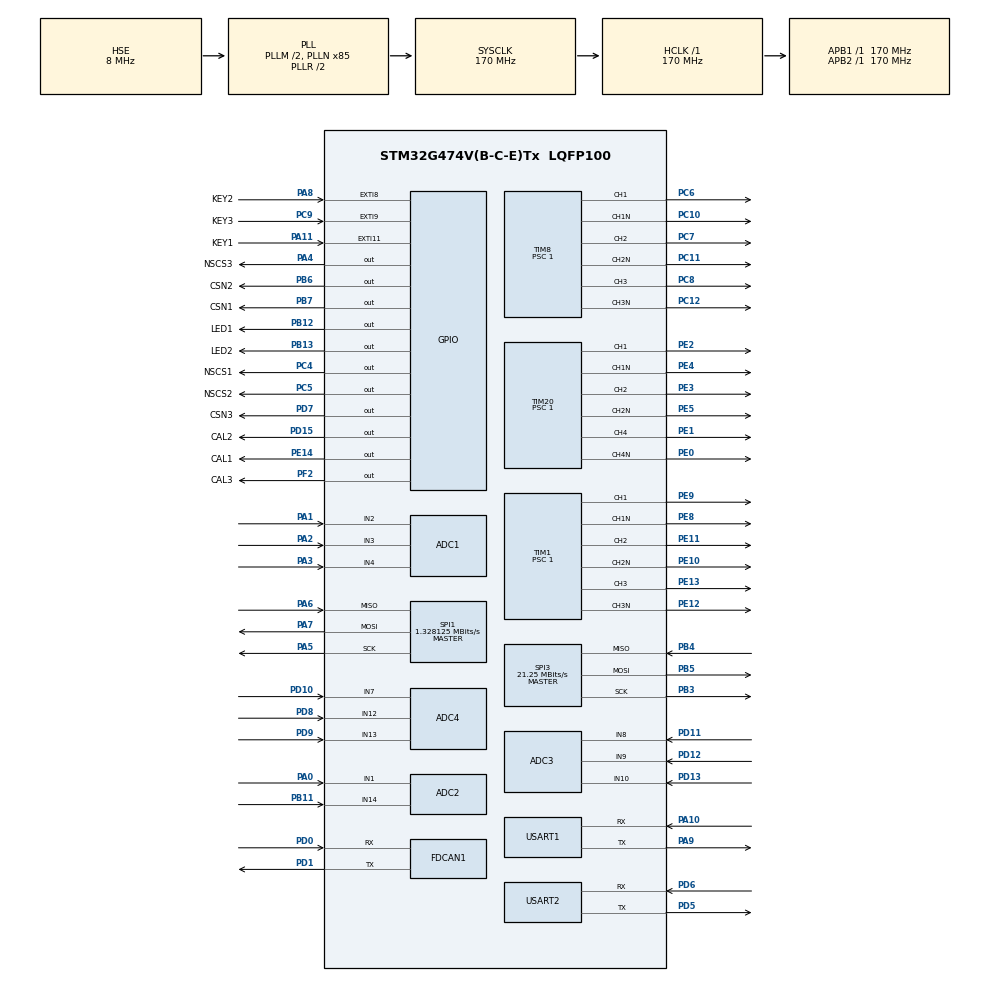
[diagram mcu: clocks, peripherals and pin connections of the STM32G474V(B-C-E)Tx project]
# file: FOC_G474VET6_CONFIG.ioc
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ADC1.Channel-0\#ChannelRegularConversion=ADC_CHANNEL_2
ADC1.Channel-1\#ChannelRegularConversion=ADC_CHANNEL_3
ADC1.Channel-2\#ChannelRegularConversion=ADC_CHANNEL_4
ADC1.ContinuousConvMode=DISABLE
ADC1.DMAContinuousRequests=ENABLE
ADC1.EOCSelection=ADC_EOC_SEQ_CONV
ADC1.ExternalTrigConv=ADC_EXTERNALTRIG_T20_CC3
ADC1.NbrOfConversion=3
ADC1.NbrOfConversionFlag=1
ADC1.OffsetNumber-0\#ChannelRegularConversion=ADC_OFFSET_NONE
ADC1.OffsetNumber-1\#ChannelRegularConversion=ADC_OFFSET_NONE
ADC1.OffsetNumber-2\#ChannelRegularConversion=ADC_OFFSET_NONE
ADC1.Rank-0\#ChannelRegularConversion=1
ADC1.Rank-1\#ChannelRegularConversion=2
ADC1.Rank-2\#ChannelRegularConversion=3
ADC1.SamplingTime-0\#ChannelRegularConversion=ADC_SAMPLETIME_47CYCLES_5
ADC1.SamplingTime-1\#ChannelRegularConversion=ADC_SAMPLETIME_47CYCLES_5
ADC1.SamplingTime-2\#ChannelRegularConversion=ADC_SAMPLETIME_47CYCLES_5
ADC1.master=1
ADC2.Channel-0\#ChannelRegularConversion=ADC_CHANNEL_1
ADC2.Channel-1\#ChannelRegularConversion=ADC_CHANNEL_14
ADC2.ContinuousConvMode=DISABLE
ADC2.DMAContinuousRequests=ENABLE
ADC2.EOCSelection=ADC_EOC_SEQ_CONV
ADC2.ExternalTrigConv=ADC_EXTERNALTRIG_T6_TRGO
ADC2.NbrOfConversion=2
ADC2.NbrOfConversionFlag=1
ADC2.OffsetNumber-0\#ChannelRegularConversion=ADC_OFFSET_NONE
ADC2.OffsetNumber-1\#ChannelRegularConversion=ADC_OFFSET_NONE
ADC2.Rank-0\#ChannelRegularConversion=1
ADC2.Rank-1\#ChannelRegularConversion=2
ADC2.SamplingTime-0\#ChannelRegularConversion=ADC_SAMPLETIME_2CYCLES_5
ADC2.SamplingTime-1\#ChannelRegularConversion=ADC_SAMPLETIME_2CYCLES_5
ADC3.Channel-0\#ChannelRegularConversion=ADC_CHANNEL_10
ADC3.Channel-1\#ChannelRegularConversion=ADC_CHANNEL_9
ADC3.Channel-2\#ChannelRegularConversion=ADC_CHANNEL_8
ADC3.ContinuousConvMode=DISABLE
ADC3.DMAContinuousRequests=ENABLE
ADC3.EOCSelection=ADC_EOC_SEQ_CONV
ADC3.ExternalTrigConv=ADC_EXTERNALTRIG_T8_TRGO2
ADC3.NbrOfConversion=3
ADC3.NbrOfConversionFlag=1
ADC3.OffsetNumber-0\#ChannelRegularConversion=ADC_OFFSET_NONE
ADC3.OffsetNumber-1\#ChannelRegularConversion=ADC_OFFSET_NONE
ADC3.OffsetNumber-2\#ChannelRegularConversion=ADC_OFFSET_NONE
ADC3.Rank-0\#ChannelRegularConversion=1
ADC3.Rank-1\#ChannelRegularConversion=2
ADC3.Rank-2\#ChannelRegularConversion=3
ADC3.SamplingTime-0\#ChannelRegularConversion=ADC_SAMPLETIME_47CYCLES_5
ADC3.SamplingTime-1\#ChannelRegularConversion=ADC_SAMPLETIME_47CYCLES_5
ADC3.SamplingTime-2\#ChannelRegularConversion=ADC_SAMPLETIME_47CYCLES_5
ADC3.master=1
ADC4.Channel-0\#ChannelRegularConversion=ADC_CHANNEL_7
ADC4.Channel-1\#ChannelRegularConversion=ADC_CHANNEL_13
ADC4.Channel-2\#ChannelRegularConversion=ADC_CHANNEL_12
ADC4.ContinuousConvMode=DISABLE
ADC4.DMAContinuousRequests=ENABLE
ADC4.EOCSelection=ADC_EOC_SEQ_CONV
ADC4.ExternalTrigConv=ADC_EXTERNALTRIG_T1_TRGO2
ADC4.NbrOfConversion=3
ADC4.NbrOfConversionFlag=1
ADC4.OffsetNumber-0\#ChannelRegularConversion=ADC_OFFSET_NONE
ADC4.OffsetNumber-1\#ChannelRegularConversion=ADC_OFFSET_NONE
ADC4.OffsetNumber-2\#ChannelRegularConversion=ADC_OFFSET_NONE
ADC4.Rank-0\#ChannelRegularConversion=1
ADC4.Rank-1\#ChannelRegularConversion=2
ADC4.Rank-2\#ChannelRegularConversion=3
ADC4.SamplingTime-0\#ChannelRegularConversion=ADC_SAMPLETIME_47CYCLES_5
ADC4.SamplingTime-1\#ChannelRegularConversion=ADC_SAMPLETIME_47CYCLES_5
ADC4.SamplingTime-2\#ChannelRegularConversion=ADC_SAMPLETIME_47CYCLES_5
Dma.ADC1.4.Direction=DMA_PERIPH_TO_MEMORY
Dma.ADC1.4.EventEnable=DISABLE
Dma.ADC1.4.Instance=DMA1_Channel5
Dma.ADC1.4.MemDataAlignment=DMA_MDATAALIGN_HALFWORD
Dma.ADC1.4.MemInc=DMA_MINC_ENABLE
Dma.ADC1.4.Mode=DMA_CIRCULAR
Dma.ADC1.4.PeriphDataAlignment=DMA_PDATAALIGN_HALFWORD
Dma.ADC1.4.PeriphInc=DMA_PINC_DISABLE
Dma.ADC1.4.Polarity=HAL_DMAMUX_REQ_GEN_RISING
Dma.ADC1.4.Priority=DMA_PRIORITY_VERY_HIGH
Dma.ADC1.4.RequestNumber=1
Dma.ADC1.4.SignalID=NONE
Dma.ADC1.4.SyncEnable=DISABLE
Dma.ADC1.4.SyncPolarity=HAL_DMAMUX_SYNC_NO_EVENT
Dma.ADC1.4.SyncRequestNumber=1
Dma.ADC1.4.SyncSignalID=NONE
Dma.ADC2.9.Direction=DMA_PERIPH_TO_MEMORY
Dma.ADC2.9.EventEnable=DISABLE
Dma.ADC2.9.Instance=DMA1_Channel8
Dma.ADC2.9.MemDataAlignment=DMA_MDATAALIGN_HALFWORD
Dma.ADC2.9.MemInc=DMA_MINC_ENABLE
Dma.ADC2.9.Mode=DMA_CIRCULAR
Dma.ADC2.9.PeriphDataAlignment=DMA_PDATAALIGN_HALFWORD
Dma.ADC2.9.PeriphInc=DMA_PINC_DISABLE
Dma.ADC2.9.Polarity=HAL_DMAMUX_REQ_GEN_RISING
Dma.ADC2.9.Priority=DMA_PRIORITY_MEDIUM
Dma.ADC2.9.RequestNumber=1
Dma.ADC2.9.SignalID=NONE
Dma.ADC2.9.SyncEnable=DISABLE
Dma.ADC2.9.SyncPolarity=HAL_DMAMUX_SYNC_NO_EVENT
Dma.ADC2.9.SyncRequestNumber=1
Dma.ADC2.9.SyncSignalID=NONE
Dma.ADC3.5.Direction=DMA_PERIPH_TO_MEMORY
Dma.ADC3.5.EventEnable=DISABLE
Dma.ADC3.5.Instance=DMA1_Channel6
Dma.ADC3.5.MemDataAlignment=DMA_MDATAALIGN_HALFWORD
Dma.ADC3.5.MemInc=DMA_MINC_ENABLE
Dma.ADC3.5.Mode=DMA_CIRCULAR
Dma.ADC3.5.PeriphDataAlignment=DMA_PDATAALIGN_HALFWORD
Dma.ADC3.5.PeriphInc=DMA_PINC_DISABLE
Dma.ADC3.5.Polarity=HAL_DMAMUX_REQ_GEN_RISING
Dma.ADC3.5.Priority=DMA_PRIORITY_VERY_HIGH
Dma.ADC3.5.RequestNumber=1
Dma.ADC3.5.SignalID=NONE
Dma.ADC3.5.SyncEnable=DISABLE
Dma.ADC3.5.SyncPolarity=HAL_DMAMUX_SYNC_NO_EVENT
Dma.ADC3.5.SyncRequestNumber=1
Dma.ADC3.5.SyncSignalID=NONE
Dma.ADC4.6.Direction=DMA_PERIPH_TO_MEMORY
Dma.ADC4.6.EventEnable=DISABLE
Dma.ADC4.6.Instance=DMA1_Channel7
Dma.ADC4.6.MemDataAlignment=DMA_MDATAALIGN_HALFWORD
Dma.ADC4.6.MemInc=DMA_MINC_ENABLE
Dma.ADC4.6.Mode=DMA_CIRCULAR
Dma.ADC4.6.PeriphDataAlignment=DMA_PDATAALIGN_HALFWORD
Dma.ADC4.6.PeriphInc=DMA_PINC_DISABLE
Dma.ADC4.6.Polarity=HAL_DMAMUX_REQ_GEN_RISING
Dma.ADC4.6.Priority=DMA_PRIORITY_VERY_HIGH
Dma.ADC4.6.RequestNumber=1
Dma.ADC4.6.SignalID=NONE
Dma.ADC4.6.SyncEnable=DISABLE
Dma.ADC4.6.SyncPolarity=HAL_DMAMUX_SYNC_NO_EVENT
Dma.ADC4.6.SyncRequestNumber=1
Dma.ADC4.6.SyncSignalID=NONE
Dma.Request0=USART1_TX
Dma.Request1=USART2_RX
Dma.Request2=USART2_TX
Dma.Request3=USART1_RX
Dma.Request4=ADC1
Dma.Request5=ADC3
Dma.Request6=ADC4
Dma.Request7=SPI3_RX
Dma.Request8=SPI3_TX
Dma.Request9=ADC2
Dma.SPI3_RX.7.Direction=DMA_PERIPH_TO_MEMORY
Dma.SPI3_RX.7.EventEnable=DISABLE
Dma.SPI3_RX.7.Instance=DMA2_Channel1
Dma.SPI3_RX.7.MemDataAlignment=DMA_MDATAALIGN_BYTE
Dma.SPI3_RX.7.MemInc=DMA_MINC_ENABLE
Dma.SPI3_RX.7.Mode=DMA_NORMAL
Dma.SPI3_RX.7.PeriphDataAlignment=DMA_PDATAALIGN_BYTE
Dma.SPI3_RX.7.PeriphInc=DMA_PINC_DISABLE
Dma.SPI3_RX.7.Polarity=HAL_DMAMUX_REQ_GEN_RISING
Dma.SPI3_RX.7.Priority=DMA_PRIORITY_HIGH
Dma.SPI3_RX.7.RequestNumber=1
Dma.SPI3_RX.7.SignalID=NONE
Dma.SPI3_RX.7.SyncEnable=DISABLE
Dma.SPI3_RX.7.SyncPolarity=HAL_DMAMUX_SYNC_NO_EVENT
Dma.SPI3_RX.7.SyncRequestNumber=1
Dma.SPI3_RX.7.SyncSignalID=NONE
Dma.SPI3_TX.8.Direction=DMA_MEMORY_TO_PERIPH
Dma.SPI3_TX.8.EventEnable=DISABLE
Dma.SPI3_TX.8.Instance=DMA2_Channel2
Dma.SPI3_TX.8.MemDataAlignment=DMA_MDATAALIGN_BYTE
Dma.SPI3_TX.8.MemInc=DMA_MINC_ENABLE
Dma.SPI3_TX.8.Mode=DMA_NORMAL
Dma.SPI3_TX.8.PeriphDataAlignment=DMA_PDATAALIGN_BYTE
Dma.SPI3_TX.8.PeriphInc=DMA_PINC_DISABLE
Dma.SPI3_TX.8.Polarity=HAL_DMAMUX_REQ_GEN_RISING
Dma.SPI3_TX.8.Priority=DMA_PRIORITY_HIGH
Dma.SPI3_TX.8.RequestNumber=1
Dma.SPI3_TX.8.SignalID=NONE
Dma.SPI3_TX.8.SyncEnable=DISABLE
Dma.SPI3_TX.8.SyncPolarity=HAL_DMAMUX_SYNC_NO_EVENT
Dma.SPI3_TX.8.SyncRequestNumber=1
Dma.SPI3_TX.8.SyncSignalID=NONE
Dma.USART1_RX.3.Direction=DMA_PERIPH_TO_MEMORY
Dma.USART1_RX.3.EventEnable=DISABLE
Dma.USART1_RX.3.Instance=DMA2_Channel8
Dma.USART1_RX.3.MemDataAlignment=DMA_MDATAALIGN_BYTE
Dma.USART1_RX.3.MemInc=DMA_MINC_ENABLE
Dma.USART1_RX.3.Mode=DMA_NORMAL
Dma.USART1_RX.3.PeriphDataAlignment=DMA_PDATAALIGN_BYTE
Dma.USART1_RX.3.PeriphInc=DMA_PINC_DISABLE
Dma.USART1_RX.3.Polarity=HAL_DMAMUX_REQ_GEN_RISING
Dma.USART1_RX.3.Priority=DMA_PRIORITY_MEDIUM
Dma.USART1_RX.3.RequestNumber=1
Dma.USART1_RX.3.SignalID=NONE
Dma.USART1_RX.3.SyncEnable=DISABLE
Dma.USART1_RX.3.SyncPolarity=HAL_DMAMUX_SYNC_NO_EVENT
Dma.USART1_RX.3.SyncRequestNumber=1
Dma.USART1_RX.3.SyncSignalID=NONE
Dma.USART1_TX.0.Direction=DMA_MEMORY_TO_PERIPH
Dma.USART1_TX.0.EventEnable=DISABLE
Dma.USART1_TX.0.Instance=DMA2_Channel5
Dma.USART1_TX.0.MemDataAlignment=DMA_MDATAALIGN_BYTE
Dma.USART1_TX.0.MemInc=DMA_MINC_ENABLE
Dma.USART1_TX.0.Mode=DMA_NORMAL
Dma.USART1_TX.0.PeriphDataAlignment=DMA_PDATAALIGN_BYTE
Dma.USART1_TX.0.PeriphInc=DMA_PINC_DISABLE
Dma.USART1_TX.0.Polarity=HAL_DMAMUX_REQ_GEN_RISING
Dma.USART1_TX.0.Priority=DMA_PRIORITY_LOW
Dma.USART1_TX.0.RequestNumber=1
Dma.USART1_TX.0.SignalID=NONE
Dma.USART1_TX.0.SyncEnable=DISABLE
Dma.USART1_TX.0.SyncPolarity=HAL_DMAMUX_SYNC_NO_EVENT
Dma.USART1_TX.0.SyncRequestNumber=1
Dma.USART1_TX.0.SyncSignalID=NONE
Dma.USART2_RX.1.Direction=DMA_PERIPH_TO_MEMORY
Dma.USART2_RX.1.EventEnable=DISABLE
Dma.USART2_RX.1.Instance=DMA2_Channel6
Dma.USART2_RX.1.MemDataAlignment=DMA_MDATAALIGN_BYTE
Dma.USART2_RX.1.MemInc=DMA_MINC_ENABLE
Dma.USART2_RX.1.Mode=DMA_NORMAL
Dma.USART2_RX.1.PeriphDataAlignment=DMA_PDATAALIGN_BYTE
Dma.USART2_RX.1.PeriphInc=DMA_PINC_DISABLE
Dma.USART2_RX.1.Polarity=HAL_DMAMUX_REQ_GEN_RISING
Dma.USART2_RX.1.Priority=DMA_PRIORITY_MEDIUM
Dma.USART2_RX.1.RequestNumber=1
Dma.USART2_RX.1.SignalID=NONE
Dma.USART2_RX.1.SyncEnable=DISABLE
Dma.USART2_RX.1.SyncPolarity=HAL_DMAMUX_SYNC_NO_EVENT
Dma.USART2_RX.1.SyncRequestNumber=1
Dma.USART2_RX.1.SyncSignalID=NONE
Dma.USART2_TX.2.Direction=DMA_MEMORY_TO_PERIPH
Dma.USART2_TX.2.EventEnable=DISABLE
Dma.USART2_TX.2.Instance=DMA2_Channel7
Dma.USART2_TX.2.MemDataAlignment=DMA_MDATAALIGN_BYTE
Dma.USART2_TX.2.MemInc=DMA_MINC_ENABLE
Dma.USART2_TX.2.Mode=DMA_NORMAL
Dma.USART2_TX.2.PeriphDataAlignment=DMA_PDATAALIGN_BYTE
Dma.USART2_TX.2.PeriphInc=DMA_PINC_DISABLE
Dma.USART2_TX.2.Polarity=HAL_DMAMUX_REQ_GEN_RISING
Dma.USART2_TX.2.Priority=DMA_PRIORITY_LOW
Dma.USART2_TX.2.RequestNumber=1
Dma.USART2_TX.2.SignalID=NONE
Dma.USART2_TX.2.SyncEnable=DISABLE
Dma.USART2_TX.2.SyncPolarity=HAL_DMAMUX_SYNC_NO_EVENT
Dma.USART2_TX.2.SyncRequestNumber=1
Dma.USART2_TX.2.SyncSignalID=NONE
FDCAN1.AutoRetransmission=ENABLE
FDCAN1.CalculateBaudRateNominal=999999
FDCAN1.CalculateTimeBitNominal=1000
FDCAN1.CalculateTimeQuantumNominal=58.82352941176471
FDCAN1.ClockDivider=FDCAN_CLOCK_DIV2
FDCAN1.DataTimeSeg1=13
FDCAN1.DataTimeSeg2=3
FDCAN1.FrameFormat=FDCAN_FRAME_FD_BRS
FDCAN1.NominalPrescaler=5
FDCAN1.NominalTimeSeg1=13
FDCAN1.NominalTimeSeg2=3
FDCAN1.StdFiltersNbr=1
Mcu.Family=STM32G4
Mcu.Name=STM32G474V(B-C-E)Tx
Mcu.Package=LQFP100
NVIC.DMA1_Channel5_IRQn=true\:2\:0\:true\:false\:true\:false\:true\:true
NVIC.DMA1_Channel6_IRQn=true\:2\:0\:true\:false\:true\:false\:true\:true
NVIC.DMA1_Channel7_IRQn=true\:2\:0\:true\:false\:true\:false\:true\:true
NVIC.DMA1_Channel8_IRQn=true\:6\:0\:true\:false\:true\:false\:true\:true
NVIC.DMA2_Channel1_IRQn=true\:4\:0\:true\:false\:true\:false\:true\:true
NVIC.DMA2_Channel2_IRQn=true\:4\:0\:true\:false\:true\:false\:true\:true
NVIC.DMA2_Channel5_IRQn=true\:9\:0\:true\:false\:true\:false\:true\:true
NVIC.DMA2_Channel6_IRQn=true\:9\:0\:true\:false\:true\:false\:true\:true
NVIC.DMA2_Channel7_IRQn=true\:9\:0\:true\:false\:true\:false\:true\:true
NVIC.DMA2_Channel8_IRQn=true\:9\:0\:true\:false\:true\:false\:true\:true
NVIC.EXTI15_10_IRQn=true\:11\:0\:true\:false\:true\:true\:true\:true
NVIC.EXTI9_5_IRQn=true\:11\:0\:true\:false\:true\:true\:true\:true
NVIC.FDCAN1_IT0_IRQn=true\:7\:0\:true\:false\:true\:true\:true\:true
NVIC.PriorityGroup=NVIC_PRIORITYGROUP_4
NVIC.TIM1_UP_TIM16_IRQn=true\:1\:0\:true\:false\:true\:true\:true\:true
NVIC.TIM20_UP_IRQn=true\:1\:0\:true\:false\:true\:true\:true\:true
NVIC.TIM4_IRQn=true\:10\:0\:true\:false\:true\:true\:true\:true
NVIC.TIM6_DAC_IRQn=true\:6\:0\:true\:false\:true\:true\:true\:true
NVIC.TIM7_DAC_IRQn=true\:5\:0\:true\:false\:true\:true\:true\:true
NVIC.TIM8_UP_IRQn=true\:1\:0\:true\:false\:true\:true\:true\:true
NVIC.USART1_IRQn=true\:8\:0\:true\:false\:true\:true\:true\:true
NVIC.USART2_IRQn=true\:8\:0\:true\:false\:true\:true\:true\:true
PA0.Mode=IN1-Single-Ended
PA0.Signal=ADC2_IN1
PA1.Mode=IN2-Single-Ended
PA1.Signal=ADC1_IN2
PA10.Mode=Asynchronous
PA10.Signal=USART1_RX
PA11.GPIO_Label=KEY1
PA11.GPIO_ModeDefaultEXTI=GPIO_MODE_IT_FALLING
PA11.GPIO_PuPd=GPIO_PULLUP
PA11.Signal=GPXTI11
PA13.Mode=Serial_Wire
PA13.Signal=SYS_JTMS-SWDIO
PA14.Mode=Serial_Wire
PA14.Signal=SYS_JTCK-SWCLK
PA2.Mode=IN3-Single-Ended
PA2.Signal=ADC1_IN3
PA3.Mode=IN4-Single-Ended
PA3.Signal=ADC1_IN4
PA4.GPIO_Label=NSCS3
PA4.GPIO_PuPd=GPIO_PULLUP
PA4.PinState=GPIO_PIN_SET
PA4.Signal=GPIO_Output
PA5.GPIO_Speed=GPIO_SPEED_FREQ_MEDIUM
PA5.Mode=Full_Duplex_Master
PA5.Signal=SPI1_SCK
PA6.GPIO_Speed=GPIO_SPEED_FREQ_MEDIUM
PA6.Mode=Full_Duplex_Master
PA6.Signal=SPI1_MISO
PA7.GPIO_Speed=GPIO_SPEED_FREQ_MEDIUM
PA7.Mode=Full_Duplex_Master
PA7.Signal=SPI1_MOSI
PA8.GPIO_Label=KEY2
PA8.GPIO_ModeDefaultEXTI=GPIO_MODE_IT_FALLING
PA8.GPIO_PuPd=GPIO_PULLUP
PA8.Signal=GPXTI8
PA9.Mode=Asynchronous
PA9.Signal=USART1_TX
PB11.Mode=IN14-Single-Ended
PB11.Signal=ADC2_IN14
PB12.GPIO_Label=LED1
PB12.Signal=GPIO_Output
PB13.GPIO_Label=LED2
PB13.Signal=GPIO_Output
PB3.GPIO_Speed=GPIO_SPEED_FREQ_VERY_HIGH
PB3.Mode=Full_Duplex_Master
PB3.Signal=SPI3_SCK
PB4.GPIO_Speed=GPIO_SPEED_FREQ_VERY_HIGH
PB4.Mode=Full_Duplex_Master
PB4.Signal=SPI3_MISO
PB5.GPIO_Speed=GPIO_SPEED_FREQ_VERY_HIGH
PB5.Mode=Full_Duplex_Master
PB5.Signal=SPI3_MOSI
PB6.GPIO_Label=CSN2
PB6.GPIO_PuPd=GPIO_PULLUP
PB6.PinState=GPIO_PIN_SET
PB6.Signal=GPIO_Output
PB7.GPIO_Label=CSN1
PB7.GPIO_PuPd=GPIO_PULLUP
PB7.PinState=GPIO_PIN_SET
PB7.Signal=GPIO_Output
PC10.Mode=PWM Generation1 CH1 CH1N
PC10.Signal=TIM8_CH1N
PC11.Mode=PWM Generation2 CH2 CH2N
PC11.Signal=TIM8_CH2N
PC12.Mode=PWM Generation3 CH3 CH3N
PC12.Signal=TIM8_CH3N
PC4.GPIO_Label=NSCS1
PC4.GPIO_ModeDefaultOutputPP=GPIO_MODE_OUTPUT_PP
PC4.GPIO_PuPd=GPIO_PULLUP
PC4.PinState=GPIO_PIN_SET
PC4.Signal=GPIO_Output
PC5.GPIO_Label=NSCS2
PC5.GPIO_PuPd=GPIO_PULLUP
PC5.PinState=GPIO_PIN_SET
PC5.Signal=GPIO_Output
PC6.Signal=S_TIM8_CH1
PC7.Signal=S_TIM8_CH2
PC8.Signal=S_TIM8_CH3
PC9.GPIO_Label=KEY3
PC9.GPIO_ModeDefaultEXTI=GPIO_MODE_IT_FALLING
PC9.GPIO_PuPd=GPIO_PULLUP
PC9.Signal=GPXTI9
PD0.GPIO_Speed=GPIO_SPEED_FREQ_VERY_HIGH
PD0.Mode=FDCAN_Activate
PD0.Signal=FDCAN1_RX
PD1.GPIO_Speed=GPIO_SPEED_FREQ_VERY_HIGH
PD1.Mode=FDCAN_Activate
PD1.Signal=FDCAN1_TX
PD10.Mode=IN7-Single-Ended
PD10.Signal=ADC4_IN7
PD11.Mode=IN8-Single-Ended
PD11.Signal=ADC3_IN8
PD12.Mode=IN9-Single-Ended
PD12.Signal=ADC3_IN9
PD13.Mode=IN10-Single-Ended
PD13.Signal=ADC3_IN10
PD15.GPIO_Label=CAL2
PD15.PinState=GPIO_PIN_SET
PD15.Signal=GPIO_Output
PD5.Mode=Asynchronous
PD5.Signal=USART2_TX
PD6.Mode=Asynchronous
PD6.Signal=USART2_RX
PD7.GPIO_Label=CSN3
PD7.GPIO_PuPd=GPIO_PULLUP
PD7.PinState=GPIO_PIN_SET
PD7.Signal=GPIO_Output
PD8.Mode=IN12-Single-Ended
PD8.Signal=ADC4_IN12
PD9.Mode=IN13-Single-Ended
PD9.Signal=ADC4_IN13
PE0.Mode=PWM Generation4 CH4 CH4N
PE0.Signal=TIM20_CH4N
PE1.Signal=S_TIM20_CH4
PE10.Mode=PWM Generation2 CH2 CH2N
PE10.Signal=TIM1_CH2N
PE11.Signal=S_TIM1_CH2
PE12.Mode=PWM Generation3 CH3 CH3N
PE12.Signal=TIM1_CH3N
PE13.Signal=S_TIM1_CH3
PE14.GPIO_Label=CAL1
PE14.PinState=GPIO_PIN_SET
PE14.Signal=GPIO_Output
PE2.Signal=S_TIM20_CH1
PE3.Signal=S_TIM20_CH2
PE4.Mode=PWM Generation1 CH1 CH1N
PE4.Signal=TIM20_CH1N
PE5.Mode=PWM Generation2 CH2 CH2N
PE5.Signal=TIM20_CH2N
PE8.Mode=PWM Generation1 CH1 CH1N
PE8.Signal=TIM1_CH1N
PE9.Signal=S_TIM1_CH1
PF0-OSC_IN.Mode=HSE-External-Oscillator
PF0-OSC_IN.Signal=RCC_OSC_IN
PF1-OSC_OUT.Mode=HSE-External-Oscillator
PF1-OSC_OUT.Signal=RCC_OSC_OUT
PF2.GPIO_Label=CAL3
PF2.PinState=GPIO_PIN_SET
PF2.Signal=GPIO_Output
ProjectManager.HeapSize=0x200
ProjectManager.StackSize=0x400
ProjectManager.TargetToolchain=MDK-ARM V5.32
RCC.ADC12Freq_Value=170000000
RCC.ADC345Freq_Value=170000000
RCC.AHBFreq_Value=170000000
RCC.APB1Freq_Value=170000000
RCC.APB1TimFreq_Value=170000000
RCC.APB2Freq_Value=170000000
RCC.APB2TimFreq_Value=170000000
RCC.CortexFreq_Value=170000000
RCC.EXTERNAL_CLOCK_VALUE=12288000
RCC.HCLKFreq_Value=170000000
RCC.HSE_VALUE=8000000
RCC.HSI48_VALUE=48000000
RCC.HSI_VALUE=16000000
RCC.LSE_VALUE=32768
RCC.PLLM=RCC_PLLM_DIV2
RCC.PLLN=85
RCC.PLLSourceVirtual=RCC_PLLSOURCE_HSE
RCC.SYSCLKFreq_VALUE=170000000
RCC.SYSCLKSource=RCC_SYSCLKSOURCE_PLLCLK
RCC.USBFreq_Value=170000000
RCC.VCOOutputFreq_Value=340000000
SH.S_TIM1_CH1.0=TIM1_CH1,PWM Generation1 CH1 CH1N
SH.S_TIM1_CH2.0=TIM1_CH2,PWM Generation2 CH2 CH2N
SH.S_TIM1_CH3.0=TIM1_CH3,PWM Generation3 CH3 CH3N
SH.S_TIM20_CH1.0=TIM20_CH1,PWM Generation1 CH1 CH1N
SH.S_TIM20_CH2.0=TIM20_CH2,PWM Generation2 CH2 CH2N
SH.S_TIM20_CH4.0=TIM20_CH4,PWM Generation4 CH4 CH4N
SH.S_TIM8_CH1.0=TIM8_CH1,PWM Generation1 CH1 CH1N
SH.S_TIM8_CH2.0=TIM8_CH2,PWM Generation2 CH2 CH2N
SH.S_TIM8_CH3.0=TIM8_CH3,PWM Generation3 CH3 CH3N
SPI1.BaudRatePrescaler=SPI_BAUDRATEPRESCALER_128
SPI1.CLKPhase=SPI_PHASE_2EDGE
SPI1.CRCCalculation=SPI_CRCCALCULATION_DISABLE
SPI1.CalculateBaudRate=1.328125 MBits/s
SPI1.DataSize=SPI_DATASIZE_8BIT
SPI1.Direction=SPI_DIRECTION_2LINES
SPI1.Mode=SPI_MODE_MASTER
SPI1.VirtualType=VM_MASTER
SPI3.BaudRatePrescaler=SPI_BAUDRATEPRESCALER_8
SPI3.CLKPhase=SPI_PHASE_2EDGE
SPI3.CLKPolarity=SPI_POLARITY_HIGH
SPI3.CalculateBaudRate=21.25 MBits/s
SPI3.DataSize=SPI_DATASIZE_8BIT
SPI3.Direction=SPI_DIRECTION_2LINES
SPI3.Mode=SPI_MODE_MASTER
SPI3.VirtualType=VM_MASTER
STMicroelectronics.X-CUBE-ALGOBUILD.1.4.0.LibraryCcDSPOoLibraryJjDSPOoLibrary=true
TIM1.AutoReloadPreload=TIM_AUTORELOAD_PRELOAD_ENABLE
TIM1.Channel-PWM\ Generation1\ CH1\ CH1N=TIM_CHANNEL_1
TIM1.Channel-PWM\ Generation2\ CH2\ CH2N=TIM_CHANNEL_2
TIM1.Channel-PWM\ Generation3\ CH3\ CH3N=TIM_CHANNEL_3
TIM1.Channel-PWM\ Generation4\ No\ Output=TIM_CHANNEL_4
TIM1.CounterMode=TIM_COUNTERMODE_CENTERALIGNED1
TIM1.PeriodNoDither=170000000/2/2/PWM_FREQ-1
TIM1.Prescaler=1
TIM1.PulseNoDither_4=(170000000/2/2/PWM_FREQ-1)/2
TIM1.TIM_MasterOutputTrigger2=TIM_TRGO2_OC4REF
TIM20.AutoReloadPreload=TIM_AUTORELOAD_PRELOAD_ENABLE
TIM20.Channel-PWM\ Generation1\ CH1\ CH1N=TIM_CHANNEL_1
TIM20.Channel-PWM\ Generation2\ CH2\ CH2N=TIM_CHANNEL_2
TIM20.Channel-PWM\ Generation3\ No\ Output=TIM_CHANNEL_3
TIM20.Channel-PWM\ Generation4\ CH4\ CH4N=TIM_CHANNEL_4
TIM20.CounterMode=TIM_COUNTERMODE_CENTERALIGNED1
TIM20.DeadTime=0
TIM20.PeriodNoDither=170000000/2/2/PWM_FREQ-1
TIM20.Prescaler=1
TIM20.PulseNoDither_3=(170000000/2/2/PWM_FREQ-1)/2
TIM20.TIM_MasterOutputTrigger2=TIM_TRGO2_OC3REF
TIM3.AutoReloadPreload=TIM_AUTORELOAD_PRELOAD_ENABLE
TIM3.PeriodNoDither=MOTOR_CONTROL_TASK_TIM_PERIOD
TIM3.Prescaler=1699
TIM4.AutoReloadPreload=TIM_AUTORELOAD_PRELOAD_ENABLE
TIM4.PeriodNoDither=4999
TIM4.Prescaler=169
TIM6.AutoReloadPreload=TIM_AUTORELOAD_PRELOAD_ENABLE
TIM6.PeriodNoDither=9999
TIM6.Prescaler=169
TIM6.TIM_MasterOutputTrigger=TIM_TRGO_UPDATE
TIM7.AutoReloadPreload=TIM_AUTORELOAD_PRELOAD_ENABLE
TIM7.PeriodNoDither=100000/SPEED_CALCU_FREQ-1
TIM7.Prescaler=169
TIM8.AutoReloadPreload=TIM_AUTORELOAD_PRELOAD_ENABLE
TIM8.Channel-PWM\ Generation1\ CH1\ CH1N=TIM_CHANNEL_1
TIM8.Channel-PWM\ Generation2\ CH2\ CH2N=TIM_CHANNEL_2
TIM8.Channel-PWM\ Generation3\ CH3\ CH3N=TIM_CHANNEL_3
TIM8.Channel-PWM\ Generation4\ No\ Output=TIM_CHANNEL_4
TIM8.CounterMode=TIM_COUNTERMODE_CENTERALIGNED1
TIM8.PeriodNoDither=170000000/2/2/PWM_FREQ-1
TIM8.Prescaler=1
TIM8.PulseNoDither_4=(170000000/2/2/PWM_FREQ-1)/2
TIM8.TIM_MasterOutputTrigger2=TIM_TRGO2_OC4REF
USART1.VirtualMode-Asynchronous=VM_ASYNC
USART2.VirtualMode-Asynchronous=VM_ASYNC
VP_STMicroelectronics.X-CUBE-ALGOBUILD_VS_DSPOoLibraryJjLibrary_1.4.0_1.4.0.Mode=DSPOoLibraryJjLibrary
VP_SYS_VS_DBSignals.Mode=DisableDeadBatterySignals
VP_TIM1_VS_ClockSourceINT.Mode=Internal
VP_TIM1_VS_no_output4.Mode=PWM Generation4 No Output
VP_TIM20_VS_ClockSourceINT.Mode=Internal
VP_TIM20_VS_no_output3.Mode=PWM Generation3 No Output
VP_TIM3_VS_ClockSourceINT.Mode=Internal
VP_TIM4_VS_ClockSourceINT.Mode=Internal
VP_TIM6_VS_ClockSourceINT.Mode=Enable_Timer
VP_TIM7_VS_ClockSourceINT.Mode=Enable_Timer
VP_TIM8_VS_ClockSourceINT.Mode=Internal
VP_TIM8_VS_no_output4.Mode=PWM Generation4 No Output
board=custom

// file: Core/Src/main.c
/* USER CODE BEGIN Header */
/**
  ******************************************************************************
  * @file           : main.c
  * @brief          : Main program body
  ******************************************************************************
  * @attention
  *
  * Copyright (c) 2026 STMicroelectronics.
  * All rights reserved.
  *
  * This software is licensed under terms that can be found in the LICENSE file
  * in the root directory of this software component.
  * If no LICENSE file comes with this software, it is provided AS-IS.
  *
  ******************************************************************************
  */
/* USER CODE END Header */
#include "main.h"
#include "adc.h"
#include "dma.h"
#include "fdcan.h"
#include "spi.h"
#include "tim.h"
#include "usart.h"
#include "gpio.h"

/* USER CODE BEGIN Includes */
#include "../Vofa_debug/Vofa_debug.h"
  #include "../timer_app/timer_app.h"
  #include "../adc_app/adc_app.h"
  #include "../spi_encoder/spi_encoder.h"
  #include "../drv8323S_drive/drv_drive.h"
  #include "../motor/motor_core.h"
  #include "../motor/Config.h"
  #include "../can_app/can_app.h"

/* USER CODE END Includes */

/* USER CODE BEGIN PD */
#define MAIN_FOC_ALIGN_VD_NORM        0.13f  // FOC电角度对齐d轴电压，首次真实测试建议0.01~0.02
#define MAIN_FOC_ROTATE_VQ_NORM       0.1f  // FOC开环旋转q轴电压，当前降低力度用于观察震动
#define MAIN_CURRENT_TEST_ID_REF_A    0.0f   // 电流环测试d轴电流目标，表贴电机第一版固定为0
#define MAIN_CURRENT_TEST_IQ_REF_A    0.2f   // 4010新电机相序验证用q轴电流目标，先低电流确认方向和采样相序
#define MAIN_SPEED_TEST_REF_RAD_S     20.0f  // KEY2速度环测试低速目标，单位rad/s
#define MAIN_SPEED_TEST_REF_HIGH_RAD_S 30.0f // KEY2速度环测试高速目标，单位rad/s
#define MAIN_POSITION_TEST_DELTA_RAD  5.0f  // KEY2位置环测试目标：当前位置基础上增加的机械角，单位rad
#define MAIN_KEY2_ADD_CURRENT_TEST_ENABLE 1U    // KEY2逐步追加电流环测试：motor0->+motor1->+motor2->全停
#define MAIN_KEY2_SINGLE_TEST_MOTOR_ID 2U       // KEY2单电机测试选择：0/1/2对应电机1/2/3
#define MAIN_KEY2_POSITION_TEST_ENABLE 1U    // KEY2测试模式：换4010后先关闭位置环，只验证电流环/相序
#define MAIN_KEY2_SPEED_TEST_ENABLE   1U     // KEY2测试模式：换4010后先关闭速度环，只验证单电流环
#define MAIN_AUTO_FOC_CALIB_ROUNDS    2U     // 上电后三电机FOC零偏自动顺序校正轮数
#define MAIN_ENCODER_DMA_ADC_DIV      2U     // 各电机ADC回调中编码器SPI DMA请求分频：10k/2=5kHz
#define MAIN_TIM7_ACTUAL_FREQ_HZ      ((uint32_t)SPEED_CALCU_FREQ * 10U) // TIM7实际中断频率，需与Config.h注释保持一致
#define MAIN_SPEED_LOOP_TIM7_DIV      (MAIN_TIM7_ACTUAL_FREQ_HZ / MOTOR_SPEED_LOOP_FREQ_HZ) // TIM7到速度环的分频
#define MAIN_POSITION_LOOP_TIM7_DIV   (MAIN_TIM7_ACTUAL_FREQ_HZ / MOTOR_POSITION_LOOP_FREQ_HZ) // TIM7到位置环的分频
#define MAIN_CAN_STATUS_FREQ_HZ       20U     // 运动期间G4状态帧上报频率
#define MAIN_CAN_STATUS_TIM7_DIV      (MAIN_TIM7_ACTUAL_FREQ_HZ / MAIN_CAN_STATUS_FREQ_HZ)

/* USER CODE END PD */

/* USER CODE BEGIN PV */
static uint32_t s_last_motor_control_cycles[MOTOR_COUNT] = {0U}; // 每个电机上一次实际控制执行时的DWT周期计数
static uint8_t s_motor_control_dt_valid[MOTOR_COUNT] = {0U};     // 每个电机控制dt首次运行标志
static uint32_t s_current_fast_loop_last_cycles[MOTOR_COUNT] = {0U}; // 每个电机ADC快环上一次进入时的DWT周期计数
static uint8_t s_current_fast_loop_dt_valid[MOTOR_COUNT] = {0U};     // 每个电机ADC快环真实dt首次运行标志
static uint8_t s_selected_motor_id = 2U;                         // 当前按键选中的电机编号，当前调试TIM20/DRV3链路
static uint8_t s_selected_motor_pwm_hw_started = 0U;             // 当前选中电机PWM硬件启动状态，1表示已调用Start
static uint8_t s_selected_motor_align_active = 0U;               // 当前选中电机是否处于FOC电角度校准对齐状态
static uint8_t s_selected_motor_rotate_active = 0U;              // 当前选中电机是否处于q轴开环旋转状态
static uint8_t s_selected_motor_current_active = 0U;             // 当前选中电机是否处于单电流环测试状态
static uint8_t s_key2_add_current_next_motor_index = 0U;         // KEY2逐步追加测试下一路待启动电机序号
static uint8_t s_key2_add_current_active_mask = 0U;              // KEY2逐步追加测试已启动电机位图，bit0/1/2对应motor0/1/2
static uint8_t s_key1_calib_seq_active = 0U;                     // KEY1三电机顺序校正是否进行中
static uint8_t s_key1_calib_seq_next_motor = 0U;                 // KEY1三电机顺序校正下一台电机序号
static uint8_t s_key1_calib_seq_started = 0U;                    // KEY1顺序校正是否已经成功启动过至少一台
static uint8_t s_key1_calib_seq_round = 0U;                      // 三电机顺序校正当前轮次
static uint8_t s_key2_speed_test_step = 1U;                      // KEY2速度环测试步进：0停机/待启动，1下次35，2下次20，3下次停机

/* USER CODE END PV */

void SystemClock_Config(void);
/* USER CODE BEGIN PFP */
static float Main_GetCurrentFastLoopDt(uint8_t motor_id); // 计算指定电机ADC快环真实dt
static uint8_t Main_StartNextMotorCurrentTest(void);      // KEY2逐步追加电流环测试启动下一路
static void Main_StopAllMotorCurrentTest(void);           // KEY2逐步追加电流环测试停止全部电机
static uint8_t Main_StartKey1CalibOne(uint8_t motor_id);   // KEY1顺序校正启动单台电机
static void Main_ServiceKey1CalibSequence(void);           // KEY1顺序校正推进器

/* USER CODE END PFP */

int main(void)
{

  /* MCU Configuration--------------------------------------------------------*/

  /* Reset of all peripherals, Initializes the Flash interface and the Systick. */
  HAL_Init();

  /* Configure the system clock */
  SystemClock_Config();

  /* Initialize all configured peripherals */
  MX_GPIO_Init();
  MX_DMA_Init();
  MX_ADC1_Init();
  MX_ADC3_Init();
  MX_ADC4_Init();
  MX_FDCAN1_Init();
  MX_TIM1_Init();
  MX_TIM8_Init();
  MX_TIM20_Init();
  MX_USART1_UART_Init();
  MX_USART2_UART_Init();
  MX_ADC2_Init();
  MX_SPI1_Init();
  MX_SPI3_Init();
  MX_TIM4_Init();
  MX_TIM6_Init();
  MX_TIM7_Init();
  MX_TIM3_Init();
  /* USER CODE BEGIN 2 */
  VOFA_Debug_Init();
  VOFA_Debug_SetTopic(VOFA_TOPIC_ENCODER);//默认查看电机2编码器主题，按KEY3可切换到FOC_TEST
  VOFA_Debug_SetPeriodMs(5U);             // VOFA发送周期5ms，约200Hz；USART1当前设置为115200
  if (DRV_Drive_Init() != HAL_OK)
  {
    Error_Handler();
  }
  Motor_Core_Init();                      // 初始化三电机软件对象和默认PID/校准参数
  Timer_App_Init();
  SPI_Encoder_Init();
  Motor_Core_ApplyEncoderOffsetConfig();  // 将Config.h中的编码器零点偏移同步到spi_encoder，避免motor_core重复扣零点
  if (CAN_App_Init() != HAL_OK)
  {
    Error_Handler();
  }
  Timer_App_Start();
  ADC_App_Init();
  (void)ADC_App_CalibrateMotorAdc();       // STM32 ADC内部自校准，必须在启动ADC DMA之前执行
  (void)ADC_App_StartMotorCurrentDma();
  if (Timer_App_StartMotorControlTimers() != HAL_OK)
  {
    Error_Handler();
  }
  (void)Motor_Core_CalibrateCurrentZero(); // 临时排查阶段：校准失败也继续运行，避免串口/VOFA被Error_Handler阻断
  (void)Motor_Core_TrimCurrentZeroResidual(); // CAL退出后再按真实采样链路微调零点残差

  s_key1_calib_seq_active = 1U;
  s_key1_calib_seq_next_motor = 0U;
  s_key1_calib_seq_started = 0U;
  s_key1_calib_seq_round = 0U;
  if (Main_StartKey1CalibOne(0U) == 0U)
  {
    s_key1_calib_seq_active = 0U;
    s_key1_calib_seq_started = 0U;
    s_key1_calib_seq_round = 0U;
  }

  /* USER CODE END 2 */

  /* Infinite loop */
  while (1)
  {

    /* USER CODE BEGIN 3 */
  //    uint8_t motor_id;

    VOFA_Debug_Task(); // VOFA内部按period_ms和DMA busy限速，放主循环可突破TIM4 5ms调用限制
    CAN_App_Task();
    Motor_Core_FocOffsetAutoCalibTask(); // KEY1启动后自动完成FOC零偏校准
    Main_ServiceKey1CalibSequence();      // KEY1三电机顺序校正推进器

      if (Timer_App_IsTaskReady(TIMER_APP_TASK_5MS) != 0U)
      {
        Timer_App_ClearTaskFlag(TIMER_APP_TASK_5MS);
      }

    if (Timer_App_IsTaskReady(TIMER_APP_TASK_SPEED_CALC) != 0U)
    {
      Timer_App_ClearTaskFlag(TIMER_APP_TASK_SPEED_CALC);
    }
/*
    for (motor_id = 0U; motor_id < Motor_Core_GetMotorCount(); motor_id++)
    {
      if (Timer_App_ConsumeMotorControlRequest(motor_id) != 0U)
      {
        uint32_t now_cycles;
        uint32_t delta_cycles;
        float control_dt_s;

          now_cycles = Timer_App_GetRuntimeCycles();
          if (s_motor_control_dt_valid[motor_id] == 0U)
          {
            control_dt_s = MOTOR_CURRENT_LOOP_DT_S;
            s_motor_control_dt_valid[motor_id] = 1U;
          }
          else
          {
            delta_cycles = now_cycles - s_last_motor_control_cycles[motor_id];
            control_dt_s = (float)delta_cycles / (float)SystemCoreClock;

            if (control_dt_s < MOTOR_CURRENT_LOOP_DT_MIN_S)
            {
              control_dt_s = MOTOR_CURRENT_LOOP_DT_MIN_S;
            }
            else if (control_dt_s > MOTOR_CURRENT_LOOP_DT_MAX_S)
            {
              control_dt_s = MOTOR_CURRENT_LOOP_DT_MAX_S;
            }
          }

        s_last_motor_control_cycles[motor_id] = now_cycles;

        if ((s_selected_motor_rotate_active != 0U) && (motor_id == s_selected_motor_id))
        {
          (void)Motor_Core_OutputFocQVoltage(s_selected_motor_id, MAIN_FOC_ROTATE_VQ_NORM);
          (void)Motor_Core_UpdateCurrentObserve(s_selected_motor_id); // 开环旋转时同步刷新电流观测量，供PHASE_CURRENT主题显示
        }
        else
        {
          (void)Motor_Core_TryUpdateFromPwmRequest(motor_id, control_dt_s);
        }
      }
    }
	*/
  }
  /* USER CODE END 3 */
}

void SystemClock_Config(void)
{
  RCC_OscInitTypeDef RCC_OscInitStruct = {0};
  RCC_ClkInitTypeDef RCC_ClkInitStruct = {0};

  /** Configure the main internal regulator output voltage
  */
  HAL_PWREx_ControlVoltageScaling(PWR_REGULATOR_VOLTAGE_SCALE1_BOOST);

  /** Initializes the RCC Oscillators according to the specified parameters
  * in the RCC_OscInitTypeDef structure.
  */
  RCC_OscInitStruct.OscillatorType = RCC_OSCILLATORTYPE_HSE;
  RCC_OscInitStruct.HSEState = RCC_HSE_ON;
  RCC_OscInitStruct.PLL.PLLState = RCC_PLL_ON;
  RCC_OscInitStruct.PLL.PLLSource = RCC_PLLSOURCE_HSE;
  RCC_OscInitStruct.PLL.PLLM = RCC_PLLM_DIV2;
  RCC_OscInitStruct.PLL.PLLN = 85;
  RCC_OscInitStruct.PLL.PLLP = RCC_PLLP_DIV2;
  RCC_OscInitStruct.PLL.PLLQ = RCC_PLLQ_DIV2;
  RCC_OscInitStruct.PLL.PLLR = RCC_PLLR_DIV2;
  if (HAL_RCC_OscConfig(&RCC_OscInitStruct) != HAL_OK)
  {
    Error_Handler();
  }

  /** Initializes the CPU, AHB and APB buses clocks
  */
  RCC_ClkInitStruct.ClockType = RCC_CLOCKTYPE_HCLK|RCC_CLOCKTYPE_SYSCLK
                              |RCC_CLOCKTYPE_PCLK1|RCC_CLOCKTYPE_PCLK2;
  RCC_ClkInitStruct.SYSCLKSource = RCC_SYSCLKSOURCE_PLLCLK;
  RCC_ClkInitStruct.AHBCLKDivider = RCC_SYSCLK_DIV1;
  RCC_ClkInitStruct.APB1CLKDivider = RCC_HCLK_DIV1;
  RCC_ClkInitStruct.APB2CLKDivider = RCC_HCLK_DIV1;

  if (HAL_RCC_ClockConfig(&RCC_ClkInitStruct, FLASH_LATENCY_4) != HAL_OK)
  {
    Error_Handler();
  }
}

/* USER CODE BEGIN 4 */
/**
  * @brief  计算指定电机ADC快环真实dt。
  * @param  motor_id: 电机编号，范围0~MOTOR_COUNT-1。
  * @retval 当前ADC快环dt，单位s。
  * @note   dt来源为DWT cycle差值，每个电机独立记录last cycle。
  *         第一次进入时使用默认MOTOR_CURRENT_LOOP_DT_S，后续做上下限保护。
  *         该dt表示两次ADC回调中实际进入快环入口的时间差，不等同于ADC硬件采样瞬间。
  */
static float Main_GetCurrentFastLoopDt(uint8_t motor_id)
{
  uint32_t now_cycles;
  uint32_t delta_cycles;
  float dt_s;

  if (motor_id >= MOTOR_COUNT)
  {
    return MOTOR_CURRENT_LOOP_DT_S;
  }

  now_cycles = Timer_App_GetRuntimeCycles();
  if (s_current_fast_loop_dt_valid[motor_id] == 0U)
  {
    dt_s = MOTOR_CURRENT_LOOP_DT_S;
    s_current_fast_loop_dt_valid[motor_id] = 1U;
  }
  else
  {
    delta_cycles = now_cycles - s_current_fast_loop_last_cycles[motor_id];
    dt_s = (float)delta_cycles / (float)SystemCoreClock;

    if (dt_s < MOTOR_CURRENT_LOOP_DT_MIN_S)
    {
      dt_s = MOTOR_CURRENT_LOOP_DT_MIN_S;
    }
    else if (dt_s > MOTOR_CURRENT_LOOP_DT_MAX_S)
    {
      dt_s = MOTOR_CURRENT_LOOP_DT_MAX_S;
    }
  }

  s_current_fast_loop_last_cycles[motor_id] = now_cycles;
  return dt_s;
}

/**
  * @brief  KEY2启动指定电机的位置-速度-电流三环测试。
  * @retval 1表示本次成功启动一路，0表示启动失败。
  * @note   目标为当前反馈位置增加MAIN_POSITION_TEST_DELTA_RAD，只启动选中电机。
  */
static uint8_t Main_StartNextMotorCurrentTest(void)
{
  uint8_t motor_id = MAIN_KEY2_SINGLE_TEST_MOTOR_ID;

  if (motor_id >= MOTOR_COUNT)
  {
    return 0U;
  }

  (void)Motor_Core_OutputNeutralPwm(motor_id);

  if (Motor_Core_IsPwmStartAllowed(motor_id) == 0U)
  {
    Main_StopAllMotorCurrentTest();
    return 0U;
  }

  if (Motor_Core_StartPwmOutput(motor_id) != HAL_OK)
  {
    Main_StopAllMotorCurrentTest();
    return 0U;
  }

  Motor_Core_SetCurrentRef(motor_id, MAIN_CURRENT_TEST_ID_REF_A, 0.0f);
  Motor_Core_SetSpeedRef(motor_id, 0.0f);
  Motor_Core_SetPositionRef(motor_id,
                            Motor_Core_GetPositionFeedbackRad(motor_id)
                            + ((motor_id == 0U) ? -MAIN_POSITION_TEST_DELTA_RAD
                                               : MAIN_POSITION_TEST_DELTA_RAD));
  Motor_Core_SetMode(motor_id, MOTOR_MODE_POSITION_SPEED_CURRENT);

  s_selected_motor_id = motor_id;
  s_selected_motor_pwm_hw_started = 1U;
  s_selected_motor_align_active = 0U;
  s_selected_motor_rotate_active = 0U;
  s_selected_motor_current_active = 1U;
  s_key2_add_current_active_mask = (uint8_t)(1U << motor_id);
  s_key2_speed_test_step = 0U;

  return 1U;
}

/**
  * @brief  停止KEY2逐步追加测试中的全部电机。
  * @retval None
  * @note   三路全部回到IDLE并关闭PWM输出，下一次KEY2重新从motor0开始。
  */
static void Main_StopAllMotorCurrentTest(void)
{
  uint8_t motor_id;

  for (motor_id = 0U; motor_id < MOTOR_COUNT; motor_id++)
  {
    Motor_Core_SetCurrentRef(motor_id, 0.0f, 0.0f);
    Motor_Core_SetSpeedRef(motor_id, 0.0f);
    Motor_Core_SetMode(motor_id, MOTOR_MODE_IDLE);
    (void)Motor_Core_StopPwmOutput(motor_id);
  }

  s_selected_motor_pwm_hw_started = 0U;
  s_selected_motor_align_active = 0U;
  s_selected_motor_rotate_active = 0U;
  s_selected_motor_current_active = 0U;
  s_key2_add_current_active_mask = 0U;
  s_key2_add_current_next_motor_index = 0U;
  s_key2_speed_test_step = 0U;
}

/**
  * @brief  KEY1顺序校正启动单台电机。
  * @param  motor_id: 电机编号。
  * @retval 1表示启动成功，0表示失败。
  * @note   仅用于顺序校正内部，不改KEY2路径。
  */
static uint8_t Main_StartKey1CalibOne(uint8_t motor_id)
{
  uint8_t pwm_ready;
  uint8_t key1_encoder_valid;
  uint8_t key1_start_allowed;
  uint8_t key1_start_called;
  uint8_t key1_start_ok;
  uint32_t key1_ccer_before;

  if (motor_id >= MOTOR_COUNT)
  {
    return 0U;
  }

  key1_encoder_valid = SPI_Encoder_Is_Valid((encoder_id_t)Motor_Core_GetBoundEncoderId(motor_id));
  key1_ccer_before = (motor_id == 0U) ? TIM1->CCER : ((motor_id == 1U) ? TIM8->CCER : TIM20->CCER);
  pwm_ready = 0U;
  key1_start_allowed = 0U;
  key1_start_called = 0U;
  key1_start_ok = 0U;

  (void)Motor_Core_OutputNeutralPwm(motor_id);

  key1_start_allowed = Motor_Core_IsPwmStartAllowed(motor_id);
  if (key1_start_allowed != 0U)
  {
    key1_start_called = 1U;
    if (Motor_Core_StartPwmOutput(motor_id) == HAL_OK)
    {
      key1_start_ok = 1U;
      pwm_ready = 1U;
    }
  }

  VOFA_Debug_RecordKey1PwmStart(key1_encoder_valid,
                                key1_start_allowed,
                                key1_start_called,
                                key1_start_ok,
                                pwm_ready,
                                key1_ccer_before,
                                (motor_id == 0U) ? TIM1->CCER : ((motor_id == 1U) ? TIM8->CCER : TIM20->CCER));

  if (pwm_ready == 0U)
  {
    return 0U;
  }

  s_selected_motor_id = motor_id;
  s_selected_motor_pwm_hw_started = 1U;
  s_selected_motor_align_active = 0U;
  s_selected_motor_rotate_active = 0U;
  s_selected_motor_current_active = 0U;
  s_key2_speed_test_step = 0U;

  Motor_Core_SetMode(motor_id, MOTOR_MODE_IDLE);
  Motor_Core_StartFocOffsetAutoCalib(motor_id, MAIN_FOC_ALIGN_VD_NORM);

  return (Motor_Core_IsFocOffsetAutoCalibBusy() != 0U) ? 1U : 0U;
}

/**
  * @brief  推进KEY1三电机顺序校正。
  * @retval None
  */
static void Main_ServiceKey1CalibSequence(void)
{
  if (s_key1_calib_seq_active == 0U)
  {
    return;
  }

  if (Motor_Core_IsFocOffsetAutoCalibBusy() != 0U)
  {
    s_key1_calib_seq_started = 1U;
    return;
  }

  if (s_key1_calib_seq_started == 0U)
  {
    s_key1_calib_seq_active = 0U;
    return;
  }

  s_key1_calib_seq_started = 0U;
  if (Motor_Core_GetFocOffsetAutoCalibResult() == 0U)
  {
    s_key1_calib_seq_active = 0U;
    return;
  }

  s_key1_calib_seq_next_motor++;
  if (s_key1_calib_seq_next_motor >= MOTOR_COUNT)
  {
    s_key1_calib_seq_round++;
    if (s_key1_calib_seq_round >= MAIN_AUTO_FOC_CALIB_ROUNDS)
    {
      s_key1_calib_seq_active = 0U;
      return;
    }

    s_key1_calib_seq_next_motor = 0U;
    if (Main_StartKey1CalibOne(0U) == 0U)
    {
      s_key1_calib_seq_active = 0U;
    }
    return;
  }

  if (Main_StartKey1CalibOne(s_key1_calib_seq_next_motor) == 0U)
  {
    s_key1_calib_seq_active = 0U;
  }
}

/**
  * @brief  将KEY1逐台校正序号清零。
  * @retval None
  */
/**
  * @brief  UART发送完成回调
  * @param  huart: 触发发送完成的串口句柄
  * @retval None
  * @note   该回调由HAL库在DMA发送完成后自动调用。
  *         这里将USART1发送完成事件转发给VOFA调试模块处理。
  */
void HAL_UART_TxCpltCallback(UART_HandleTypeDef *huart)
{
  VOFA_Debug_TxCpltCallback(huart);
}

/**
  * @brief  UART错误回调
  * @param  huart: 发生错误的串口句柄
  * @retval None
  * @note   该回调由HAL库在串口或DMA发送异常时自动调用。
  *         这里将USART1错误事件转发给VOFA调试模块处理。
  */
void HAL_UART_ErrorCallback(UART_HandleTypeDef *huart)
{
  VOFA_Debug_ErrorCallback(huart);
}

/**
  * @brief  TIM周期到达回调
  * @param  htim: 触发周期回调的定时器句柄
  * @retval None
  * @note   当前用于把TIM4 5ms基础节拍转发给timer_app，由timer_app产生软件任务标志。
  */
void HAL_TIM_PeriodElapsedCallback(TIM_HandleTypeDef *htim)
{
  Timer_App_PeriodElapsedCallback(htim);

  if ((htim != NULL) && (htim->Instance == TIM7))
  {
    static uint16_t speed_loop_div[MOTOR_COUNT] = {0U};
    static uint16_t position_loop_div[MOTOR_COUNT] = {0U};
    static uint16_t can_status_div = 0U;
    static uint32_t last_speed_cycles[MOTOR_COUNT] = {0U};
    static uint8_t speed_dt_valid[MOTOR_COUNT] = {0U};
    uint32_t now_cycles;
    uint8_t motor_id;
    encoder_id_t encoder_id;
    HAL_StatusTypeDef speed_status;
    float speed_dt_s;
    uint8_t active_motor_mask;

    active_motor_mask = (uint8_t)(s_key2_add_current_active_mask | CAN_App_GetActiveMotorMask());
    if (active_motor_mask == 0U)
    {
      return;
    }

    for (motor_id = 0U; motor_id < MOTOR_COUNT; motor_id++)
    {
      if ((active_motor_mask & (1U << motor_id)) == 0U)
      {
        continue;
      }

      position_loop_div[motor_id]++;
      if (position_loop_div[motor_id] >= MAIN_POSITION_LOOP_TIM7_DIV)
      {
        position_loop_div[motor_id] = 0U;
        (void)Motor_Core_RunPositionOuterLoopFromTim7(motor_id, MOTOR_POSITION_LOOP_DT_S);
      }

      speed_loop_div[motor_id]++;
      if (speed_loop_div[motor_id] >= MAIN_SPEED_LOOP_TIM7_DIV)
      {
        speed_loop_div[motor_id] = 0U;

        /*
         * TIM7分频后作为速度外环节拍：
         * 1. 只根据已有编码器角度缓存计算速度，不启动SPI传输；
         * 2. 速度环只更新iq_ref，不跑电流环、不跑FOC、不写CCR；
         * 3. 电流快环仍由各自ADC DMA完成回调触发。
         */
        now_cycles = Timer_App_GetRuntimeCycles();
        if (speed_dt_valid[motor_id] == 0U)
        {
          speed_dt_s = MOTOR_SPEED_LOOP_DT_S;
          speed_dt_valid[motor_id] = 1U;
        }
        else
        {
          speed_dt_s = (float)(now_cycles - last_speed_cycles[motor_id]) / (float)SystemCoreClock;
          if (speed_dt_s < (MOTOR_SPEED_LOOP_DT_S * 0.2f))
          {
            speed_dt_s = MOTOR_SPEED_LOOP_DT_S * 0.2f;
          }
          else if (speed_dt_s > (MOTOR_SPEED_LOOP_DT_S * 5.0f))
          {
            speed_dt_s = MOTOR_SPEED_LOOP_DT_S * 5.0f;
          }
        }
        last_speed_cycles[motor_id] = now_cycles;

        encoder_id = (encoder_id_t)Motor_Core_GetBoundEncoderId(motor_id);
        speed_status = SPI_Encoder_Update_Speed_By_Cache(encoder_id, speed_dt_s);

        if (speed_status == HAL_OK)
        {
          (void)Motor_Core_RunSpeedOuterLoopFromTim7(motor_id, speed_dt_s);
        }
      }
    }

    /*
     * 状态上报使用TIM7固定分频，不依赖最低优先级的HAL Tick。
     * 放在三电机循环外，避免某一路位置环提前返回后停止上报。
     */
    can_status_div++;
    if (can_status_div >= MAIN_CAN_STATUS_TIM7_DIV)
    {
      can_status_div = 0U;
      CAN_App_RequestStatusTx();
    }
  }
}

/**
  * @brief  SPI DMA收发完成回调
  * @param  hspi: 触发DMA完成的SPI句柄
  * @retval None
  * @note   当前用于把SPI3编码器DMA完成事件转发给spi_encoder模块。
  */
void HAL_SPI_TxRxCpltCallback(SPI_HandleTypeDef *hspi)
{
  SPI_Encoder_TxRxCpltCallback(hspi);
}

/**
  * @brief  SPI错误回调
  * @param  hspi: 触发错误的SPI句柄
  * @retval None
  * @note   当前用于把SPI3编码器DMA错误事件转发给spi_encoder模块，
  *         防止编码器DMA busy状态卡死。
  */
void HAL_SPI_ErrorCallback(SPI_HandleTypeDef *hspi)
{
  SPI_Encoder_ErrorCallback(hspi);
}

/**
  * @brief  ADC转换完成回调
  * @param  hadc: 触发转换完成回调的ADC句柄
  * @retval None
  * @note   当前用于把ADC DMA完成事件转发给adc_app，由adc_app维护raw更新标志。
  */
void HAL_ADC_ConvCpltCallback(ADC_HandleTypeDef *hadc)
{
  uint8_t active_motor_mask;

  ADC_App_ConvCpltCallback(hadc);

  if (hadc == NULL)
  {
    return;
  }

  active_motor_mask = (uint8_t)(s_key2_add_current_active_mask | CAN_App_GetActiveMotorMask());

  if (hadc->Instance == ADC4)
  {
    static uint8_t encoder1_dma_div = 0U;

    if ((active_motor_mask & (1U << 0U)) != 0U)
    {
      (void)Motor_Core_RunCurrentFastLoopDirectFromAdc(0U, Main_GetCurrentFastLoopDt(0U));
    }

    if ((s_selected_motor_id == 0U) && (s_selected_motor_current_active == 0U))
    {
      (void)Motor_Core_UpdateCurrentObserve(0U);
    }

    encoder1_dma_div++;
    if (encoder1_dma_div >= MAIN_ENCODER_DMA_ADC_DIV)
    {
      encoder1_dma_div = 0U;
      (void)SPI_Encoder_Request_Update_DMA(encoder_id_1, Timer_App_GetRuntimeCycles());
    }
    (void)SPI_Encoder_ServicePendingOnce();
  }
  else if (hadc->Instance == ADC3)
  {
    static uint8_t encoder2_dma_div = 0U;

    if ((active_motor_mask & (1U << 1U)) != 0U)
    {
      (void)Motor_Core_RunCurrentFastLoopDirectFromAdc(1U, Main_GetCurrentFastLoopDt(1U));
    }

    if ((s_selected_motor_id == 1U) && (s_selected_motor_current_active == 0U))
    {
      (void)Motor_Core_UpdateCurrentObserve(1U);
    }

    encoder2_dma_div++;
    if (encoder2_dma_div >= MAIN_ENCODER_DMA_ADC_DIV)
    {
      encoder2_dma_div = 0U;
      (void)SPI_Encoder_Request_Update_DMA(encoder_id_2, Timer_App_GetRuntimeCycles());
    }
    (void)SPI_Encoder_ServicePendingOnce();
  }
  else if (hadc->Instance == ADC1)
  {
    static uint8_t encoder3_dma_div = 0U;

    if ((active_motor_mask & (1U << 2U)) != 0U)
    {
      (void)Motor_Core_RunCurrentFastLoopDirectFromAdc(2U, Main_GetCurrentFastLoopDt(2U));
    }

    if ((s_selected_motor_id == 2U) && (s_selected_motor_current_active == 0U))
    {
      (void)Motor_Core_UpdateCurrentObserve(2U);
    }

    encoder3_dma_div++;
    if (encoder3_dma_div >= MAIN_ENCODER_DMA_ADC_DIV)
    {
      encoder3_dma_div = 0U;
      (void)SPI_Encoder_Request_Update_DMA(encoder_id_3, Timer_App_GetRuntimeCycles());
    }
    (void)SPI_Encoder_ServicePendingOnce();
  }
}

/**
  * @brief  ADC错误回调
  * @param  hadc: 触发错误回调的ADC句柄
  * @retval None
  * @note   当前用于把ADC错误事件转发给adc_app，第一版adc_app只保留入口，不做复杂处理。
  */
void HAL_ADC_ErrorCallback(ADC_HandleTypeDef *hadc)
{
  ADC_App_ErrorCallback(hadc);
}

/**
  * @brief  GPIO外部中断回调。
  * @param  GPIO_Pin: 触发外部中断的GPIO引脚。
  * @retval None
  * @note   KEY1：当前选中电机PWM开关；打开前先写入FOC电角度对齐电压。
  *         KEY2：PWM已开启并且转子吸合稳定后，捕获当前角度并修正FOC电角度零偏。
  *         KEY3：切换VOFA主题。
  *         当前按键已有硬件RC消抖，因此这里不做软件防抖。
  */
void HAL_GPIO_EXTI_Callback(uint16_t GPIO_Pin)
{
  if (GPIO_Pin == KEY1_Pin)
  {
    if ((s_key1_calib_seq_active != 0U) ||
        (Motor_Core_IsFocOffsetAutoCalibBusy() != 0U))
    {
      return;
    }

    s_key1_calib_seq_active = 1U;
    s_key1_calib_seq_next_motor = 0U;
    s_key1_calib_seq_started = 0U;
    s_key1_calib_seq_round = 0U;

    if (Main_StartKey1CalibOne(0U) == 0U)
    {
      s_key1_calib_seq_active = 0U;
      s_key1_calib_seq_started = 0U;
      s_key1_calib_seq_round = 0U;
    }
  }
    else if (GPIO_Pin == KEY2_Pin)
    {
#if (MAIN_KEY2_ADD_CURRENT_TEST_ENABLE != 0U)
      if (s_key2_add_current_active_mask == 0U)
      {
        (void)Main_StartNextMotorCurrentTest();
      }
      else
      {
        Main_StopAllMotorCurrentTest();
      }
      return;
#endif

      if (s_selected_motor_current_active == 0U)
      {
        uint8_t pwm_ready = s_selected_motor_pwm_hw_started;

        if (pwm_ready == 0U)
        {
          (void)Motor_Core_OutputNeutralPwm(s_selected_motor_id); // 启动PWM前先写安全中性占空比

          if (Motor_Core_IsPwmStartAllowed(s_selected_motor_id) != 0U)
          {
            if (Motor_Core_StartPwmOutput(s_selected_motor_id) == HAL_OK)
            {
              s_selected_motor_pwm_hw_started = 1U;
              pwm_ready = 1U;
            }
          }
        }

          if (pwm_ready != 0U)
          {
            s_selected_motor_align_active = 0U;
            s_selected_motor_rotate_active = 0U;
#if (MAIN_KEY2_POSITION_TEST_ENABLE != 0U)
            Motor_Core_SetCurrentRef(s_selected_motor_id, MAIN_CURRENT_TEST_ID_REF_A, 0.0f);
            Motor_Core_SetSpeedRef(s_selected_motor_id, 0.0f);
            Motor_Core_SetPositionRef(s_selected_motor_id,
                                      Motor_Core_GetPositionFeedbackRad(s_selected_motor_id)
                                      + ((s_selected_motor_id == 0U) ? -MAIN_POSITION_TEST_DELTA_RAD : MAIN_POSITION_TEST_DELTA_RAD));
            Motor_Core_SetMode(s_selected_motor_id, MOTOR_MODE_POSITION_SPEED_CURRENT);
#elif (MAIN_KEY2_SPEED_TEST_ENABLE != 0U)
            Motor_Core_SetCurrentRef(s_selected_motor_id, MAIN_CURRENT_TEST_ID_REF_A, 0.0f);
            Motor_Core_SetSpeedRef(s_selected_motor_id, MAIN_SPEED_TEST_REF_RAD_S);
            Motor_Core_SetMode(s_selected_motor_id, MOTOR_MODE_SPEED_CURRENT);
            s_key2_speed_test_step = 1U;
#else
            Motor_Core_SetCurrentRef(s_selected_motor_id,
                                     MAIN_CURRENT_TEST_ID_REF_A,
                                     MAIN_CURRENT_TEST_IQ_REF_A);
            Motor_Core_SetMode(s_selected_motor_id, MOTOR_MODE_CURRENT);
            s_key2_speed_test_step = 0U;
#endif
            s_selected_motor_current_active = 1U;
          }
      }
      else
      {
#if (MAIN_KEY2_SPEED_TEST_ENABLE != 0U)
        if (s_key2_speed_test_step == 1U)
        {
          Motor_Core_SetCurrentRef(s_selected_motor_id, MAIN_CURRENT_TEST_ID_REF_A, 0.0f);
          Motor_Core_SetSpeedRef(s_selected_motor_id, MAIN_SPEED_TEST_REF_HIGH_RAD_S);
          Motor_Core_SetMode(s_selected_motor_id, MOTOR_MODE_SPEED_CURRENT);
          s_key2_speed_test_step = 2U;
        }
        else if (s_key2_speed_test_step == 2U)
        {
          Motor_Core_SetCurrentRef(s_selected_motor_id, MAIN_CURRENT_TEST_ID_REF_A, 0.0f);
          Motor_Core_SetSpeedRef(s_selected_motor_id, MAIN_SPEED_TEST_REF_RAD_S);
          Motor_Core_SetMode(s_selected_motor_id, MOTOR_MODE_SPEED_CURRENT);
          s_key2_speed_test_step = 3U;
        }
        else
#endif
        {
          Motor_Core_SetCurrentRef(s_selected_motor_id, 0.0f, 0.0f);
          Motor_Core_SetSpeedRef(s_selected_motor_id, 0.0f);
          Motor_Core_SetMode(s_selected_motor_id, MOTOR_MODE_IDLE);
          (void)Motor_Core_StopPwmOutput(s_selected_motor_id); // 关闭PWM输出，让三相尽量进入自由滑行状态
          s_selected_motor_pwm_hw_started = 0U;
          s_selected_motor_align_active = 0U;
          s_selected_motor_rotate_active = 0U;
          s_selected_motor_current_active = 0U;
          s_key2_speed_test_step = 0U;
        }
      }
    }
  else if (GPIO_Pin == KEY3_Pin)
  {
    vofa_topic_t topic = VOFA_Debug_GetTopic();

    if (topic == VOFA_TOPIC_ENCODER)
    {
      VOFA_Debug_SetTopic(VOFA_TOPIC_ENCODER_ALL);
    }
    else if (topic == VOFA_TOPIC_ENCODER_ALL)
    {
      VOFA_Debug_SetTopic(VOFA_TOPIC_FOC_TEST);
    }
    else if (topic == VOFA_TOPIC_FOC_TEST)
    {
      VOFA_Debug_SetTopic(VOFA_TOPIC_ADC_DIAG);
    }
    else if (topic == VOFA_TOPIC_ADC_DIAG)
    {
      VOFA_Debug_SetTopic(VOFA_TOPIC_PHASE_CURRENT);
    }
    else if (topic == VOFA_TOPIC_PHASE_CURRENT)
    {
      VOFA_Debug_SetTopic(VOFA_TOPIC_CURRENT_SAMPLE_DIAG);
    }
    else if (topic == VOFA_TOPIC_CURRENT_SAMPLE_DIAG)
    {
      VOFA_Debug_SetTopic(VOFA_TOPIC_CURRENT_PID);
    }
    else if (topic == VOFA_TOPIC_CURRENT_PID)
    {
      VOFA_Debug_SetTopic(VOFA_TOPIC_SPEED_PID);
    }
    else if (topic == VOFA_TOPIC_SPEED_PID)
    {
      VOFA_Debug_SetTopic(VOFA_TOPIC_POSITION_PID);
    }
    else if (topic == VOFA_TOPIC_POSITION_PID)
    {
      VOFA_Debug_SetTopic(VOFA_TOPIC_FAST_LOOP_PROFILE);
    }
    else if (topic == VOFA_TOPIC_FAST_LOOP_PROFILE)
    {
      VOFA_Debug_SetTopic(VOFA_TOPIC_DRV_CHECK);
    }
    else
    {
      VOFA_Debug_SetTopic(VOFA_TOPIC_ENCODER);
    }
  }
}
/* USER CODE END 4 */

void Error_Handler(void)
{
  __disable_irq();
  while (1)
  {
  }
}
